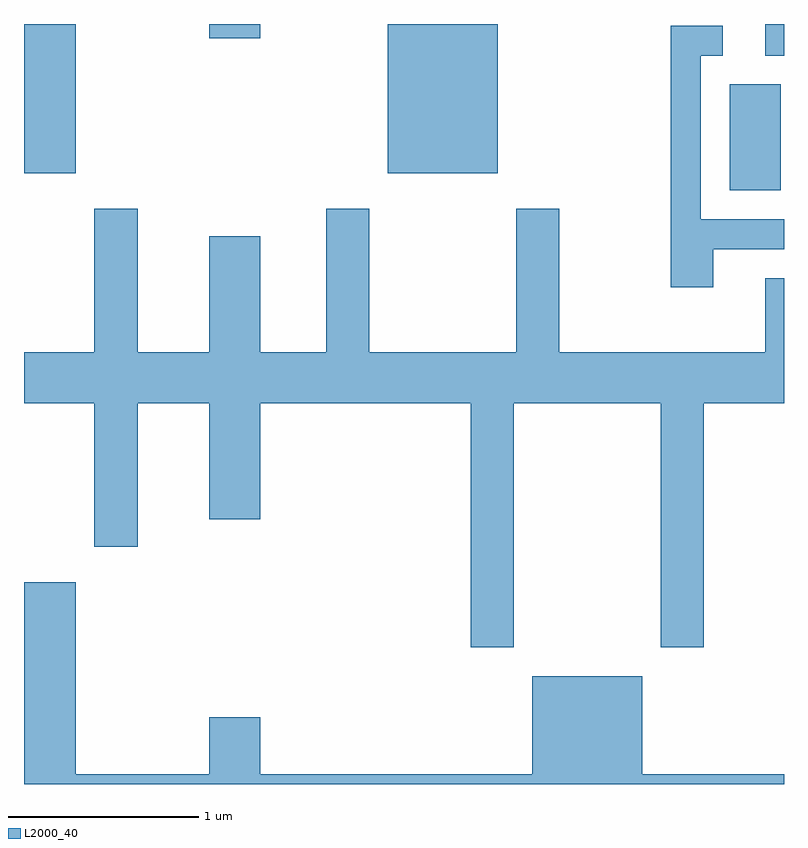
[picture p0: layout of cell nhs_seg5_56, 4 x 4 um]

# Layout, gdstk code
import gdstk
lib = gdstk.Library(unit=1e-6, precision=1e-09)
def R(c, l, rs):  # rectangles x0, y0, x1, y1
    for r in rs: c.add(gdstk.rectangle(r[:2], r[2:], *l))
def P(c, l, *ps):  # polygons
    for p in ps: c.add(gdstk.Polygon(p, *l))
L2000_40 = (2000, 40)

nhs_seg5_56 = lib.new_cell('nhs_seg5_56')
R(nhs_seg5_56, L2000_40, [(189.326,1511.196,189.594,1511.754), (185.611,1511.286,185.884,1512.072), (187.526,1511.286,188.104,1512.072), (189.511,1511.906,189.611,1512.072), (186.586,1511.996,186.854,1512.072)])
P(nhs_seg5_56, L2000_40, [(189.239,1510.886),(189.611,1510.886),(189.611,1511.044),(189.174,1511.044),(189.174,1511.906),(189.288,1511.906),(189.288,1512.064),(189.016,1512.064),(189.016,1510.686),(189.239,1510.686)],
  [(188.189,1510.076),(188.961,1510.076),(188.961,1508.791),(189.189,1508.791),(189.189,1510.076),(189.611,1510.076),(189.611,1510.734),(189.511,1510.734),(189.511,1510.344),(188.429,1510.344),(188.429,1511.099),(188.201,1511.099),(188.201,1510.344),(187.429,1510.344),(187.429,1511.099),(187.201,1511.099),(187.201,1510.344),(186.854,1510.344),(186.854,1510.954),(186.586,1510.954),(186.586,1510.344),(186.209,1510.344),(186.209,1511.099),(185.981,1511.099),(185.981,1510.344),(185.611,1510.344),(185.611,1510.076),(185.981,1510.076),(185.981,1509.321),(186.209,1509.321),(186.209,1510.076),(186.586,1510.076),(186.586,1509.466),(186.854,1509.466),(186.854,1510.076),(187.961,1510.076),(187.961,1508.791),(188.189,1508.791)],
  [(189.611,1508.124),(188.864,1508.124),(188.864,1508.639),(188.286,1508.639),(188.286,1508.124),(186.854,1508.124),(186.854,1508.424),(186.586,1508.424),(186.586,1508.124),(185.884,1508.124),(185.884,1509.134),(185.611,1509.134),(185.611,1508.072),(189.611,1508.072)])

lib.write_gds('nhs_seg5_56.gds')
